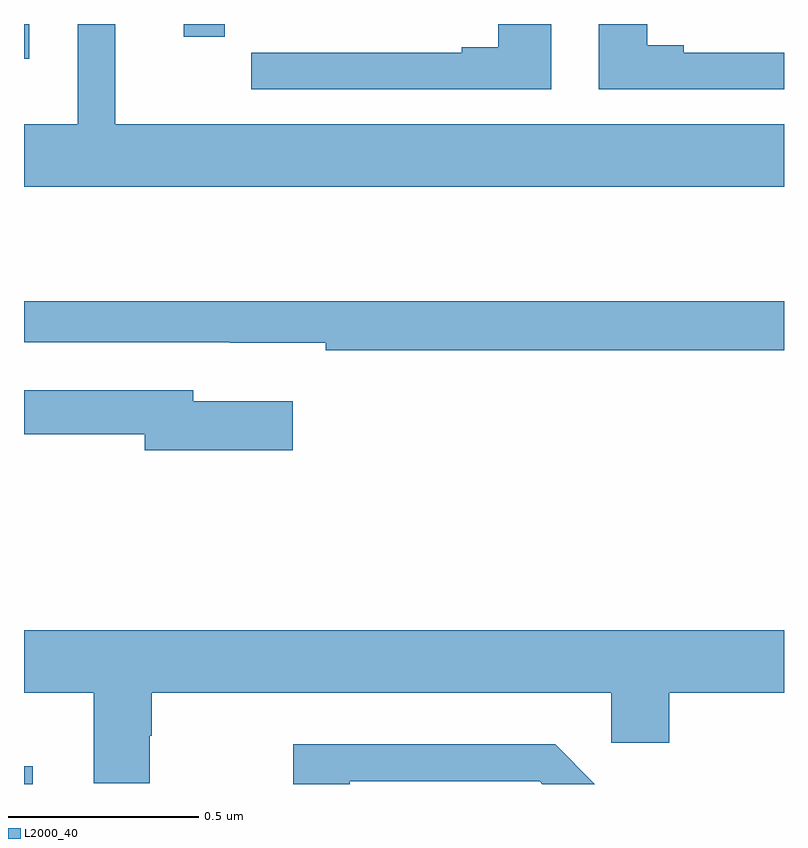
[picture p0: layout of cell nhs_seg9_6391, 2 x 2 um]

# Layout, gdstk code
import gdstk
lib = gdstk.Library(unit=1e-6, precision=1e-09)
def R(c, l, rs):  # rectangles x0, y0, x1, y1
    for r in rs: c.add(gdstk.rectangle(r[:2], r[2:], *l))
def P(c, l, *ps):  # polygons
    for p in ps: c.add(gdstk.Polygon(p, *l))
L2000_40 = (2000, 40)

nhs_seg9_6391 = lib.new_cell('nhs_seg9_6391')
R(nhs_seg9_6391, L2000_40, [(191,1209.5,191.023,1209.547), (191,1211.408,191.014,1211.5), (191.42,1211.466,191.528,1211.5)])
P(nhs_seg9_6391, L2000_40, [(193,1211.236),(191.24,1211.236),(191.24,1211.5),(191.142,1211.5),(191.142,1211.236),(191,1211.236),(191,1211.072),(193,1211.072)],
  [(192.388,1211.5),(192.248,1211.5),(192.248,1211.439),(192.152,1211.439),(192.152,1211.424),(191.876,1211.424),(191.876,1211.425),(191.71,1211.425),(191.71,1211.424),(191.598,1211.424),(191.598,1211.328),(192.388,1211.328)],
  [(193,1211.424),(192.736,1211.424),(192.736,1211.444),(192.64,1211.444),(192.64,1211.5),(192.512,1211.5),(192.512,1211.328),(193,1211.328)],
  [(193,1210.771),(191,1210.771),(191,1210.662),(191.542,1210.662),(191.542,1210.661),(191.794,1210.661),(191.794,1210.642),(193,1210.642)],
  [(191.707,1210.507),(191.446,1210.507),(191.446,1210.536),(191,1210.536),(191,1210.42),(191.318,1210.42),(191.318,1210.378),(191.707,1210.378)],
  [(191.331,1209.627),(191.336,1209.627),(191.336,1209.74),(192.546,1209.74),(192.546,1209.609),(192.698,1209.609),(192.698,1209.74),(193,1209.74),(193,1209.904),(191,1209.904),(191,1209.74),(191.183,1209.74),(191.183,1209.502),(191.331,1209.502)],
  [(191.857,1209.507),(192.357,1209.507),(192.364,1209.5),(192.502,1209.5),(192.398,1209.604),(191.709,1209.604),(191.709,1209.5),(191.857,1209.5)])

lib.write_gds('nhs_seg9_6391.gds')
